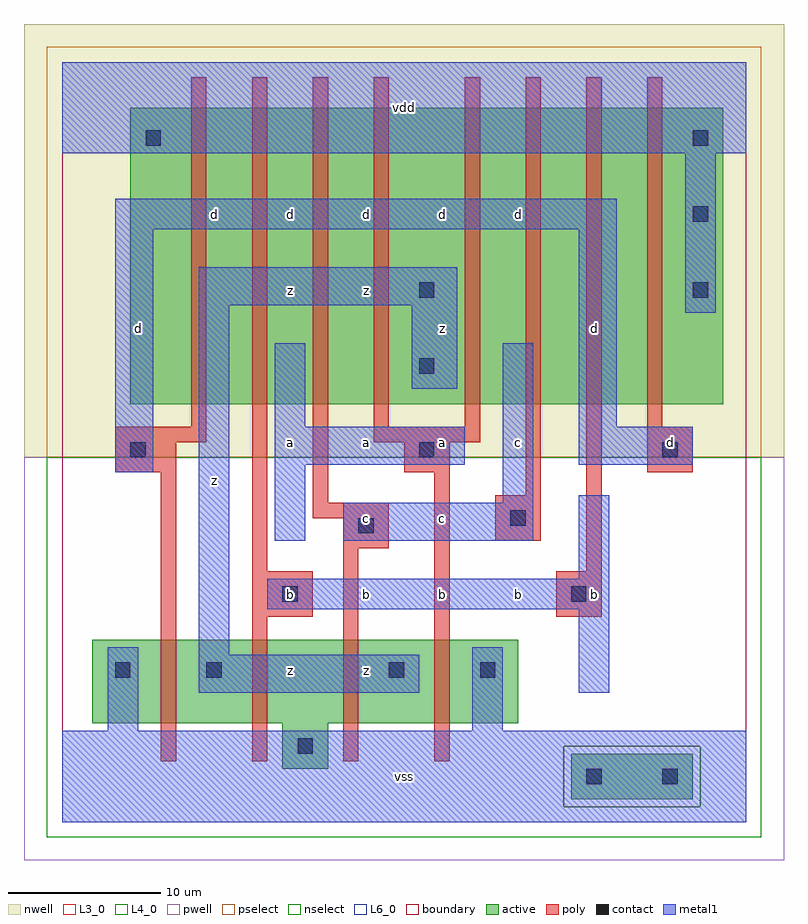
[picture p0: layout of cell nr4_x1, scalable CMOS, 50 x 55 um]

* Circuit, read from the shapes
.subckt nr4_x1 a b c d vdd vss z
M1 z d vss vss nfet w=5.5u l=1u
M2 vss b z vss nfet w=5.5u l=1u
M3 z c vss vss nfet w=5.5u l=1u
M4 vss a z vss nfet w=5.5u l=1u
M5 n1 d vdd n2 pfet w=19.5u l=1u
M6 n3 b n1 n2 pfet w=19.5u l=1u
M7 n4 c n3 n2 pfet w=19.5u l=1u
M8 z a n4 n2 pfet w=19.5u l=1u
M9 n5 a z n2 pfet w=19.5u l=1u
M10 n6 c n5 n2 pfet w=19.5u l=1u
M11 n7 b n6 n2 pfet w=19.5u l=1u
M12 vdd d n7 n2 pfet w=19.5u l=1u
.ends

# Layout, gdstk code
import gdstk
lib = gdstk.Library(unit=1e-6, precision=1e-09)
def R(c, l, rs):  # rectangles x0, y0, x1, y1
    for r in rs: c.add(gdstk.rectangle(r[:2], r[2:], *l))
def A(c, l, x, y, w, h, nx, ny, dx, dy):  # array of equal rectangles
    R(c, l, [(x+i*dx, y+j*dy, x+i*dx+w, y+j*dy+h) for i in range(nx) for j in range(ny)])
L3_0 = (3, 0)
L4_0 = (4, 0)
L6_0 = (6, 0)
contact = (25, 0)
pwell = (41, 0)
nwell = (42, 0)
active = (43, 0)
pselect = (44, 0)
nselect = (45, 0)
poly = (46, 0)
metal1 = (49, 0)
boundary = (63, 0)

nr4_x1 = lib.new_cell('nr4_x1')
R(nr4_x1, L3_0, [(14.5,3.5,17.5,6.5), (2,6.5,30,12)])
R(nr4_x1, L4_0, [(4.5,27.5,43.5,47)])
R(nr4_x1, L6_0, [(33.5,1.5,41.5,4.5)])
A(nr4_x1, contact, 41.5, 34.5, 1, 1, 1, 3, 0, 5)
R(nr4_x1, contact, [(34.5,2.5,35.5,3.5), (39.5,2.5,40.5,3.5), (15.5,4.5,16.5,5.5), (3.5,9.5,4.5,10.5), (9.5,9.5,10.5,10.5), (21.5,9.5,22.5,10.5), (27.5,9.5,28.5,10.5), (14.5,14.5,15.5,15.5), (33.5,14.5,34.5,15.5), (19.5,19,20.5,20), (29.5,19.5,30.5,20.5), (4.5,24,5.5,25), (23.5,24,24.5,25), (39.5,24,40.5,25), (23.5,29.5,24.5,30.5), (23.5,34.5,24.5,35.5), (5.5,44.5,6.5,45.5)])
R(nr4_x1, pwell, [(-2.5,-2.5,47.5,24)])
R(nr4_x1, nwell, [(-2.5,24,47.5,52.5)])
R(nr4_x1, active, [(33.5,1.5,41.5,4.5), (14.5,3.5,17.5,6.5), (2,6.5,30,12), (4.5,27.5,43.5,47)])
R(nr4_x1, pselect, [(33,1,42,5), (-1,24,46,51)])
R(nr4_x1, nselect, [(-1,-1,46,1), (-1,1,33,5), (42,1,46,5), (-1,5,46,24)])
R(nr4_x1, poly, [(6.5,4,7.5,23), (12.5,4,13.5,13.5), (18.5,4,19.5,18), (24.5,4,25.5,23), (12.5,13.5,16.5,16.5), (32.5,13.5,35.5,16.5), (12.5,16.5,13.5,49), (34.5,16.5,35.5,49), (18.5,18,21.5,20), (28.5,18.5,31.5,21.5), (16.5,20,21.5,21), (16.5,21,17.5,49), (30.5,21.5,31.5,49), (3.5,23,7.5,25), (22.5,23,25.5,25), (38.5,23,41.5,26), (3.5,25,9.5,26), (20.5,25,27.5,26), (8.5,26,9.5,49), (20.5,26,21.5,49), (26.5,26,27.5,49), (38.5,26,39.5,49)])
R(nr4_x1, metal1, [(0,0,45,6), (0,0,45,6), (3,6,5,11.5), (3,6,5,11.5), (27,6,29,11.5), (27,6,29,11.5), (9,8.5,23.5,11), (9,8.5,23.5,11), (34,8.5,36,14), (34,8.5,36,14), (9,11,11,34), (9,11,11,34), (13.5,14,36,16), (13.5,14,36,16), (34,16,36,21.5), (34,16,36,21.5), (14,18.5,16,23.5), (14,18.5,16,23.5), (18.5,18.5,31,21), (18.5,18.5,31,21), (29,21,31,31.5), (29,21,31,31.5), (3.5,23,6,39), (3.5,23,6,39), (14,23.5,26.5,26), (14,23.5,26.5,26), (34,23.5,41.5,26), (34,23.5,41.5,26), (14,26,16,31.5), (14,26,16,31.5), (34,26,36.5,39), (34,26,36.5,39), (23,28.5,26,34), (23,28.5,26,34), (41,33.5,43,44), (41,33.5,43,44), (9,34,26,36.5), (9,34,26,36.5), (3.5,39,36.5,41), (3.5,39,36.5,41), (0,44,45,50), (0,44,45,50)])
R(nr4_x1, boundary, [(0,0,45,50)])
nr4_x1.add(gdstk.Label('d', (5,32.5), layer=49, texttype=0))
nr4_x1.add(gdstk.Label('z', (15,10), layer=49, texttype=0))
nr4_x1.add(gdstk.Label('b', (15,15), layer=49, texttype=0))
nr4_x1.add(gdstk.Label('z', (10,22.5), layer=49, texttype=0))
nr4_x1.add(gdstk.Label('a', (15,25), layer=49, texttype=0))
nr4_x1.add(gdstk.Label('z', (15,35), layer=49, texttype=0))
nr4_x1.add(gdstk.Label('d', (15,40), layer=49, texttype=0))
nr4_x1.add(gdstk.Label('d', (10,40), layer=49, texttype=0))
nr4_x1.add(gdstk.Label('vss', (22.5,3), layer=49, texttype=0))
nr4_x1.add(gdstk.Label('z', (20,10), layer=49, texttype=0))
nr4_x1.add(gdstk.Label('b', (20,15), layer=49, texttype=0))
nr4_x1.add(gdstk.Label('b', (25,15), layer=49, texttype=0))
nr4_x1.add(gdstk.Label('c', (25,20), layer=49, texttype=0))
nr4_x1.add(gdstk.Label('c', (20,20), layer=49, texttype=0))
nr4_x1.add(gdstk.Label('a', (25,25), layer=49, texttype=0))
nr4_x1.add(gdstk.Label('a', (20,25), layer=49, texttype=0))
nr4_x1.add(gdstk.Label('z', (20,35), layer=49, texttype=0))
nr4_x1.add(gdstk.Label('z', (25,32.5), layer=49, texttype=0))
nr4_x1.add(gdstk.Label('d', (25,40), layer=49, texttype=0))
nr4_x1.add(gdstk.Label('d', (20,40), layer=49, texttype=0))
nr4_x1.add(gdstk.Label('vdd', (22.5,47), layer=49, texttype=0))
nr4_x1.add(gdstk.Label('b', (35,15), layer=49, texttype=0))
nr4_x1.add(gdstk.Label('b', (30,15), layer=49, texttype=0))
nr4_x1.add(gdstk.Label('c', (30,25), layer=49, texttype=0))
nr4_x1.add(gdstk.Label('d', (35,32.5), layer=49, texttype=0))
nr4_x1.add(gdstk.Label('d', (30,40), layer=49, texttype=0))
nr4_x1.add(gdstk.Label('d', (40,25), layer=49, texttype=0))

lib.write_gds('nr4_x1.gds')
